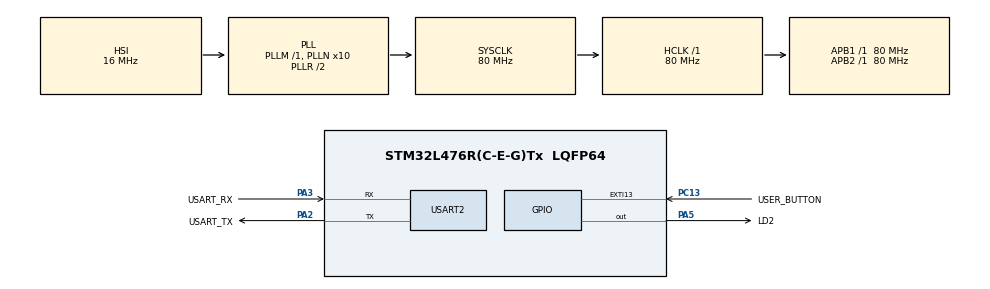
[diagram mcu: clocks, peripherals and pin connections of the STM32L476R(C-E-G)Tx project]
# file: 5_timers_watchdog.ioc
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IWDG.Prescaler=IWDG_PRESCALER_32
Mcu.Family=STM32L4
Mcu.Name=STM32L476R(C-E-G)Tx
Mcu.Package=LQFP64
NVIC.PriorityGroup=NVIC_PRIORITYGROUP_4
PA13\ (JTMS-SWDIO).GPIO_Label=TMS
PA13\ (JTMS-SWDIO).Mode=Serial_Wire
PA13\ (JTMS-SWDIO).Signal=SYS_JTMS-SWDIO
PA14\ (JTCK-SWCLK).GPIO_Label=TCK
PA14\ (JTCK-SWCLK).Mode=Serial_Wire
PA14\ (JTCK-SWCLK).Signal=SYS_JTCK-SWCLK
PA2.GPIO_Label=USART_TX
PA2.GPIO_Mode=GPIO_MODE_AF_PP
PA2.GPIO_PuPd=GPIO_NOPULL
PA2.GPIO_Speed=GPIO_SPEED_FREQ_VERY_HIGH
PA2.Mode=Asynchronous
PA2.Signal=USART2_TX
PA3.GPIO_Label=USART_RX
PA3.GPIO_Mode=GPIO_MODE_AF_PP
PA3.GPIO_PuPd=GPIO_NOPULL
PA3.GPIO_Speed=GPIO_SPEED_FREQ_VERY_HIGH
PA3.Mode=Asynchronous
PA3.Signal=USART2_RX
PA5.GPIO_Label=LD2
PA5.GPIO_ModeDefaultOutputPP=GPIO_MODE_OUTPUT_PP
PA5.GPIO_PuPd=GPIO_NOPULL
PA5.GPIO_Speed=GPIO_SPEED_FREQ_LOW
PA5.Signal=GPIO_Output
PB3\ (JTDO-TRACESWO).GPIO_Label=SWO
PB3\ (JTDO-TRACESWO).Signal=SYS_JTDO-SWO
PC13.GPIO_Label=USER_BUTTON
PC13.GPIO_ModeDefaultEXTI=GPIO_MODE_IT_FALLING
PC13.GPIO_PuPd=GPIO_NOPULL
PC13.Signal=GPXTI13
PC14-OSC32_IN\ (PC14).Mode=LSE-External-Oscillator
PC14-OSC32_IN\ (PC14).Signal=RCC_OSC32_IN
PC15-OSC32_OUT\ (PC15).Mode=LSE-External-Oscillator
PC15-OSC32_OUT\ (PC15).Signal=RCC_OSC32_OUT
PH0-OSC_IN\ (PH0).Signal=RCC_OSC_IN
PH1-OSC_OUT\ (PH1).Signal=RCC_OSC_OUT
ProjectManager.HeapSize=0x200
ProjectManager.StackSize=0x400
ProjectManager.TargetToolchain=STM32CubeIDE
RCC.ADCFreq_Value=64000000
RCC.AHBFreq_Value=80000000
RCC.APB1Freq_Value=80000000
RCC.APB1TimFreq_Value=80000000
RCC.APB2Freq_Value=80000000
RCC.APB2TimFreq_Value=80000000
RCC.CortexFreq_Value=80000000
RCC.HCLKFreq_Value=80000000
RCC.HSE_VALUE=8000000
RCC.HSI_VALUE=16000000
RCC.MSI_VALUE=4000000
RCC.PLLN=10
RCC.PLLSourceVirtual=RCC_PLLSOURCE_HSI
RCC.PREFETCH_ENABLE=1
RCC.SYSCLKFreq_VALUE=80000000
RCC.SYSCLKSource=RCC_SYSCLKSOURCE_PLLCLK
RCC.USBFreq_Value=64000000
RCC.VCOOutputFreq_Value=160000000
USART2.VirtualMode-Asynchronous=VM_ASYNC
VP_IWDG_VS_IWDG.Mode=IWDG_Activate
VP_RTC_VS_RTC_Activate.Mode=RTC_Enabled
board=NUCLEO-L476RG

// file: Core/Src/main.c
/* USER CODE BEGIN Header */
/**
 ******************************************************************************
 * @file           : main.c
 * @brief          : Main program body
 ******************************************************************************
 * @attention
 *
 * Copyright (c) 2023 STMicroelectronics.
 * All rights reserved.
 *
 * This software is licensed under terms that can be found in the LICENSE file
 * in the root directory of this software component.
 * If no LICENSE file comes with this software, it is provided AS-IS.
 *
 ******************************************************************************
 */
/* USER CODE END Header */
#include "main.h"

/* USER CODE BEGIN Includes */
#include <stdio.h>
#include <string.h>
#include <stdbool.h>
/* USER CODE END Includes */

IWDG_HandleTypeDef hiwdg;

RTC_HandleTypeDef hrtc;

UART_HandleTypeDef huart2;

void SystemClock_Config(void);
static void MX_GPIO_Init(void);
static void MX_RTC_Init(void);
static void MX_USART2_UART_Init(void);
static void MX_IWDG_Init(void);

/* USER CODE BEGIN 0 */
int __io_putchar(int ch)
{
  if (ch == '\n')
  {
    uint8_t ch2 = '\r';
    HAL_UART_Transmit(&huart2, &ch2, 1, HAL_MAX_DELAY);
  }

  HAL_UART_Transmit(&huart2, (uint8_t *)&ch, 1, HAL_MAX_DELAY);
  return 1;
}

bool is_button_pressed(void)
{
  if (HAL_GPIO_ReadPin(USER_BUTTON_GPIO_Port, USER_BUTTON_Pin) == GPIO_PIN_RESET)
  {
    return true;
  }
  else
  {
    return false;
  }
}

RTC_TimeTypeDef reset_timer(void)
{
  RTC_TimeTypeDef time = {0};
  while (is_button_pressed())
  {
  }
  time.Hours = 7;
  time.Minutes = 45;
  time.Seconds = 0;
  HAL_RTC_SetTime(&hrtc, &time, RTC_FORMAT_BIN);
  return time;
}

void print_actual_time(void)
{
  RTC_TimeTypeDef time;
  RTC_DateTypeDef date;
  HAL_RTC_GetTime(&hrtc, &time, RTC_FORMAT_BIN);
  HAL_RTC_GetDate(&hrtc, &date, RTC_FORMAT_BIN);
  printf("RTC: %02d:%02d:%02d\n", time.Hours, time.Minutes, time.Seconds);
}

void reset_info(void){
   for (int i = 0; i < 10; i++)
  {
    HAL_GPIO_TogglePin(LD2_GPIO_Port, LD2_Pin);
    HAL_Delay(100);
  }
}

/* USER CODE END 0 */

int main(void)
{

  /* MCU Configuration--------------------------------------------------------*/

  /* Reset of all peripherals, Initializes the Flash interface and the Systick. */
  HAL_Init();

  /* Configure the system clock */
  SystemClock_Config();

  /* Initialize all configured peripherals */
  MX_GPIO_Init();
  MX_RTC_Init();
  MX_USART2_UART_Init();
  MX_IWDG_Init();

  /* Infinite loop */
  /* USER CODE BEGIN WHILE */

  reset_info();
  uint32_t last_ms = HAL_GetTick();
  while (1)
  {

    uint32_t now = HAL_GetTick();
	  if (is_button_pressed()) {
		  while (1) {} //for watchdog test
	  }

	  if (now - last_ms >= 500) {
		  HAL_GPIO_TogglePin(LD2_GPIO_Port, LD2_Pin);
		  last_ms = now;
      HAL_IWDG_Refresh(&hiwdg);
	  }
    /* USER CODE END WHILE */

  }
}

void SystemClock_Config(void)
{
  RCC_OscInitTypeDef RCC_OscInitStruct = {0};
  RCC_ClkInitTypeDef RCC_ClkInitStruct = {0};

  /** Configure the main internal regulator output voltage
  */
  if (HAL_PWREx_ControlVoltageScaling(PWR_REGULATOR_VOLTAGE_SCALE1) != HAL_OK)
  {
    Error_Handler();
  }

  /** Initializes the RCC Oscillators according to the specified parameters
  * in the RCC_OscInitTypeDef structure.
  */
  RCC_OscInitStruct.OscillatorType = RCC_OSCILLATORTYPE_HSI|RCC_OSCILLATORTYPE_LSI;
  RCC_OscInitStruct.HSIState = RCC_HSI_ON;
  RCC_OscInitStruct.HSICalibrationValue = RCC_HSICALIBRATION_DEFAULT;
  RCC_OscInitStruct.LSIState = RCC_LSI_ON;
  RCC_OscInitStruct.PLL.PLLState = RCC_PLL_ON;
  RCC_OscInitStruct.PLL.PLLSource = RCC_PLLSOURCE_HSI;
  RCC_OscInitStruct.PLL.PLLM = 1;
  RCC_OscInitStruct.PLL.PLLN = 10;
  RCC_OscInitStruct.PLL.PLLP = RCC_PLLP_DIV7;
  RCC_OscInitStruct.PLL.PLLQ = RCC_PLLQ_DIV2;
  RCC_OscInitStruct.PLL.PLLR = RCC_PLLR_DIV2;
  if (HAL_RCC_OscConfig(&RCC_OscInitStruct) != HAL_OK)
  {
    Error_Handler();
  }

  /** Initializes the CPU, AHB and APB buses clocks
  */
  RCC_ClkInitStruct.ClockType = RCC_CLOCKTYPE_HCLK|RCC_CLOCKTYPE_SYSCLK
                              |RCC_CLOCKTYPE_PCLK1|RCC_CLOCKTYPE_PCLK2;
  RCC_ClkInitStruct.SYSCLKSource = RCC_SYSCLKSOURCE_PLLCLK;
  RCC_ClkInitStruct.AHBCLKDivider = RCC_SYSCLK_DIV1;
  RCC_ClkInitStruct.APB1CLKDivider = RCC_HCLK_DIV1;
  RCC_ClkInitStruct.APB2CLKDivider = RCC_HCLK_DIV1;

  if (HAL_RCC_ClockConfig(&RCC_ClkInitStruct, FLASH_LATENCY_4) != HAL_OK)
  {
    Error_Handler();
  }
}

static void MX_IWDG_Init(void)
{

  hiwdg.Instance = IWDG;
  hiwdg.Init.Prescaler = IWDG_PRESCALER_32;
  hiwdg.Init.Window = 4095;
  hiwdg.Init.Reload = 4095;
  if (HAL_IWDG_Init(&hiwdg) != HAL_OK)
  {
    Error_Handler();
  }

}

static void MX_RTC_Init(void)
{

  /** Initialize RTC Only
  */
  hrtc.Instance = RTC;
  hrtc.Init.HourFormat = RTC_HOURFORMAT_24;
  hrtc.Init.AsynchPrediv = 127;
  hrtc.Init.SynchPrediv = 255;
  hrtc.Init.OutPut = RTC_OUTPUT_DISABLE;
  hrtc.Init.OutPutRemap = RTC_OUTPUT_REMAP_NONE;
  hrtc.Init.OutPutPolarity = RTC_OUTPUT_POLARITY_HIGH;
  hrtc.Init.OutPutType = RTC_OUTPUT_TYPE_OPENDRAIN;
  if (HAL_RTC_Init(&hrtc) != HAL_OK)
  {
    Error_Handler();
  }

}

static void MX_USART2_UART_Init(void)
{

  huart2.Instance = USART2;
  huart2.Init.BaudRate = 115200;
  huart2.Init.WordLength = UART_WORDLENGTH_8B;
  huart2.Init.StopBits = UART_STOPBITS_1;
  huart2.Init.Parity = UART_PARITY_NONE;
  huart2.Init.Mode = UART_MODE_TX_RX;
  huart2.Init.HwFlowCtl = UART_HWCONTROL_NONE;
  huart2.Init.OverSampling = UART_OVERSAMPLING_16;
  huart2.Init.OneBitSampling = UART_ONE_BIT_SAMPLE_DISABLE;
  huart2.AdvancedInit.AdvFeatureInit = UART_ADVFEATURE_NO_INIT;
  if (HAL_UART_Init(&huart2) != HAL_OK)
  {
    Error_Handler();
  }

}

static void MX_GPIO_Init(void)
{
  GPIO_InitTypeDef GPIO_InitStruct = {0};

  /* GPIO Ports Clock Enable */
  __HAL_RCC_GPIOC_CLK_ENABLE();
  __HAL_RCC_GPIOH_CLK_ENABLE();
  __HAL_RCC_GPIOA_CLK_ENABLE();
  __HAL_RCC_GPIOB_CLK_ENABLE();

  /*Configure GPIO pin Output Level */
  HAL_GPIO_WritePin(LD2_GPIO_Port, LD2_Pin, GPIO_PIN_RESET);

  /*Configure GPIO pin : USER_BUTTON_Pin */
  GPIO_InitStruct.Pin = USER_BUTTON_Pin;
  GPIO_InitStruct.Mode = GPIO_MODE_IT_FALLING;
  GPIO_InitStruct.Pull = GPIO_NOPULL;
  HAL_GPIO_Init(USER_BUTTON_GPIO_Port, &GPIO_InitStruct);

  /*Configure GPIO pin : LD2_Pin */
  GPIO_InitStruct.Pin = LD2_Pin;
  GPIO_InitStruct.Mode = GPIO_MODE_OUTPUT_PP;
  GPIO_InitStruct.Pull = GPIO_NOPULL;
  GPIO_InitStruct.Speed = GPIO_SPEED_FREQ_LOW;
  HAL_GPIO_Init(LD2_GPIO_Port, &GPIO_InitStruct);

}

void Error_Handler(void)
{
  __disable_irq();
  while (1)
  {
  }
}
